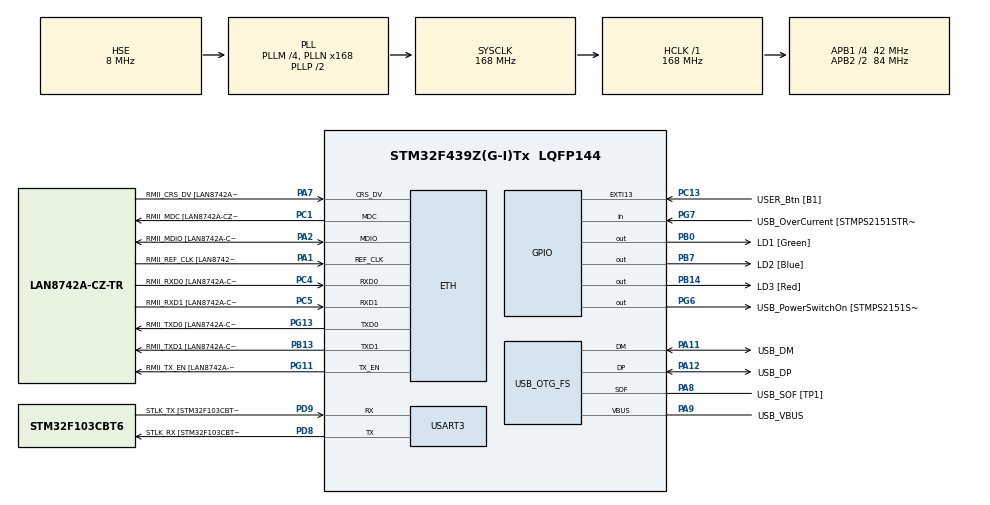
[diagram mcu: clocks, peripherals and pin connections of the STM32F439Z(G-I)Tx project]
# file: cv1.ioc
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ETH.MediaInterface=HAL_ETH_RMII_MODE
ETH.PHY_Name=LAN8742A_PHY_ADDRESS
ETH.PHY_Value=0
ETH.PhyAddress=0
Mcu.Family=STM32F4
Mcu.Name=STM32F439Z(G-I)Tx
Mcu.Package=LQFP144
NVIC.PriorityGroup=NVIC_PRIORITYGROUP_4
PA1.GPIO_Label=RMII_REF_CLK [LAN8742A-CZ-TR_REFCLK0]
PA1.Mode=RMII
PA1.Signal=ETH_REF_CLK
PA10.GPIO_Label=USB_ID
PA10.Signal=USB_OTG_FS_ID
PA11.GPIO_Label=USB_DM
PA11.Mode=Device_Only
PA11.Signal=USB_OTG_FS_DM
PA12.GPIO_Label=USB_DP
PA12.Mode=Device_Only
PA12.Signal=USB_OTG_FS_DP
PA13.GPIO_Label=TMS
PA13.Mode=Serial_Wire
PA13.Signal=SYS_JTMS-SWDIO
PA14.GPIO_Label=TCK
PA14.Mode=Serial_Wire
PA14.Signal=SYS_JTCK-SWCLK
PA2.GPIO_Label=RMII_MDIO [LAN8742A-CZ-TR_MDIO]
PA2.Mode=RMII
PA2.Signal=ETH_MDIO
PA7.GPIO_Label=RMII_CRS_DV [LAN8742A-CZ-TR_CRS_DV]
PA7.Mode=RMII
PA7.Signal=ETH_CRS_DV
PA8.GPIO_Label=USB_SOF [TP1]
PA8.Mode=Activate_SOF_FS
PA8.Signal=USB_OTG_FS_SOF
PA9.GPIO_Label=USB_VBUS
PA9.Mode=Activate_VBUS
PA9.Signal=USB_OTG_FS_VBUS
PB0.GPIO_Label=LD1 [Green]
PB0.Signal=GPIO_Output
PB13.GPIO_Label=RMII_TXD1 [LAN8742A-CZ-TR_TXD1]
PB13.Mode=RMII
PB13.Signal=ETH_TXD1
PB14.GPIO_Label=LD3 [Red]
PB14.Signal=GPIO_Output
PB7.GPIO_Label=LD2 [Blue]
PB7.Signal=GPIO_Output
PC1.GPIO_Label=RMII_MDC [LAN8742A-CZ-TR_MDC]
PC1.Mode=RMII
PC1.Signal=ETH_MDC
PC13.GPIO_Label=USER_Btn [B1]
PC13.Signal=GPXTI13
PC14/OSC32_IN.Mode=LSE-External-Oscillator
PC14/OSC32_IN.Signal=RCC_OSC32_IN
PC15/OSC32_OUT.Mode=LSE-External-Oscillator
PC15/OSC32_OUT.Signal=RCC_OSC32_OUT
PC4.GPIO_Label=RMII_RXD0 [LAN8742A-CZ-TR_RXD0]
PC4.Mode=RMII
PC4.Signal=ETH_RXD0
PC5.GPIO_Label=RMII_RXD1 [LAN8742A-CZ-TR_RXD1]
PC5.Mode=RMII
PC5.Signal=ETH_RXD1
PD8.GPIO_Label=STLK_RX [STM32F103CBT6_PA3]
PD8.Mode=Asynchronous
PD8.Signal=USART3_TX
PD9.GPIO_Label=STLK_TX [STM32F103CBT6_PA2]
PD9.Mode=Asynchronous
PD9.Signal=USART3_RX
PG11.GPIO_Label=RMII_TX_EN [LAN8742A-CZ-TR_TXEN]
PG11.Mode=RMII
PG11.Signal=ETH_TX_EN
PG13.GPIO_Label=RMII_TXD0 [LAN8742A-CZ-TR_TXD0]
PG13.Mode=RMII
PG13.Signal=ETH_TXD0
PG6.GPIO_Label=USB_PowerSwitchOn [STMPS2151STR_EN]
PG6.Signal=GPIO_Output
PG7.GPIO_Label=USB_OverCurrent [STMPS2151STR_FAULT]
PG7.Signal=GPIO_Input
PH0/OSC_IN.GPIO_Label=MCO [STM32F103CBT6_PA8]
PH0/OSC_IN.Mode=HSE-External-Clock-Source
PH0/OSC_IN.Signal=RCC_OSC_IN
PH1/OSC_OUT.Mode=HSE-External-Clock-Source
PH1/OSC_OUT.Signal=RCC_OSC_OUT
ProjectManager.HeapSize=0x200
ProjectManager.StackSize=0x400
ProjectManager.TargetToolchain=STM32CubeIDE
RCC.48MHZClocksFreq_Value=48000000
RCC.AHBFreq_Value=168000000
RCC.APB1CLKDivider=RCC_HCLK_DIV4
RCC.APB1Freq_Value=42000000
RCC.APB1TimFreq_Value=84000000
RCC.APB2CLKDivider=RCC_HCLK_DIV2
RCC.APB2Freq_Value=84000000
RCC.APB2TimCLKDivider=2
RCC.APB2TimFreq_Value=168000000
RCC.CortexFreq_Value=168000000
RCC.HCLKFreq_Value=168000000
RCC.HSE_VALUE=8000000
RCC.HSI_VALUE=16000000
RCC.PLLM=4
RCC.PLLMUL=RCC_PLL_MUL9
RCC.PLLN=168
RCC.PLLQ=7
RCC.PRESCALERUSB=RCC_USBCLKSOURCE_PLL_DIV1_5
RCC.SYSCLKFreq_VALUE=168000000
RCC.SYSCLKSource=RCC_SYSCLKSOURCE_PLLCLK
RCC.SYSCLKSourceVirtual=RCC_SYSCLKSOURCE_PLLCLK
RCC.USBFreq_Value=48000000
RCC.VCOOutputFreq_Value=336000000
USART3.VirtualMode=VM_ASYNC
USB_OTG_FS.VirtualMode=Device_Only
board=NUCLEO-F439ZI

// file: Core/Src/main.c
/* USER CODE BEGIN Header */
/**
  ******************************************************************************
  * @file           : main.c
  * @brief          : Main program body
  ******************************************************************************
  * @attention
  *
  * Copyright (c) 2026 STMicroelectronics.
  * All rights reserved.
  *
  * This software is licensed under terms that can be found in the LICENSE file
  * in the root directory of this software component.
  * If no LICENSE file comes with this software, it is provided AS-IS.
  *
  ******************************************************************************
  */
/* USER CODE END Header */
#include "main.h"
#include "eth.h"
#include "usart.h"
#include "usb_otg.h"
#include "gpio.h"

/* USER CODE BEGIN Includes */
#include "putchar.h"
#include <stdio.h>
#include <stdlib.h>
#include <string.h>
#include <ctype.h>
/* USER CODE END Includes */

/* USER CODE BEGIN PD */
#define ODECET
#define KONSTANTA 2

#define UPPER_CASE 1
#define NORMAL_CASE 2
//#define DIRECTION_UP
#define DIRECTION_DOWN
/* USER CODE END PD */

/* USER CODE BEGIN PV */

int a = 10;
char field[52];

/* USER CODE END PV */

void SystemClock_Config(void);
/* USER CODE BEGIN PFP */

int generateField(int type) {
    int i = 0;

    if (type != UPPER_CASE && type != NORMAL_CASE) {
        printf("PROGRAM ERROR\n");
        return 0;
    }

    if (type == NORMAL_CASE) {
        for (char c = 'a'; c <= 'z'; c++)
            field[i++] = c;
        for (char c = 'A'; c <= 'Z'; c++)
            field[i++] = c;
    } else {
        for (char c = 'A'; c <= 'Z'; c++)
            field[i++] = c;
        for (char c = 'a'; c <= 'z'; c++)
            field[i++] = c;
    }

    return 1;
}

int capsLetters(int type) {
    if (type != UPPER_CASE && type != NORMAL_CASE) {
        printf("PROGRAM ERROR\n");
        return 0;
    }

    for (int i = 0; i < 52; i++) {
        if (type == UPPER_CASE)
            field[i] = toupper(field[i]);
        else
            field[i] = tolower(field[i]);
    }

    return 1;
}

void printField(void) {
#ifdef DIRECTION_UP
	for (int i = 0; i < 52; i++)
	    printf("%c ", field[i]);
#endif
#ifdef DIRECTION_DOWN
	for (int i = 51; i >= 0; i--)
		printf("%c ", field[i]);
#endif
}
/* USER CODE END PFP */

int main(void)
{

  /* USER CODE BEGIN 1 */
  // ukol 3
  #ifdef ODECET
   a=a-KONSTANTA;
  #endif
   printf("Ukol 3 vysledek: %d ", a);

   // ukol 4
   unsigned char b = 255;
   unsigned char c = 255;
   int d;
   d = (int)b + (int)c;
   printf("Ukol 4 vysledek: %d ", d);

   //ukol 5
   int f = 24;
   f = f >> 3;
   f = f - 1;
   f = f&2;
   printf("Ukol 5 vysledek: %d ", f);

   // ukol 6
   int e = 200;
   char text[15];
   sprintf(text,"Hodnota=%d ", e);
   printf("%s", text);

   // ukol 7
   generateField(UPPER_CASE);

   capsLetters(NORMAL_CASE);

   printField();
   // ukol 8
   int promenna = 23;
   int *pointer = &promenna;

   printf("Hodnota: %d ", promenna);
   printf("Ukazatel: %d ", *pointer);

   printf("Pamet: %p ", (void *)&promenna);
   printf("Pamet ukazalete: %p ", (void *)pointer);

  /* USER CODE END 1 */

  /* MCU Configuration--------------------------------------------------------*/

  /* Reset of all peripherals, Initializes the Flash interface and the Systick. */
  HAL_Init();

  /* Configure the system clock */
  SystemClock_Config();

  /* Initialize all configured peripherals */
  MX_GPIO_Init();
  MX_ETH_Init();
  MX_USART3_UART_Init();
  MX_USB_OTG_FS_PCD_Init();
  /* USER CODE BEGIN 2 */

  // ukol 2
  setvbuf(stdout, NULL, _IONBF, 0);
  printf("Hello world!\n");

  /* USER CODE END 2 */

  /* Infinite loop */
  /* USER CODE BEGIN WHILE */
  while (1)
  {
	  //ukol 1
	  HAL_GPIO_TogglePin(LD1_GPIO_Port, LD1_Pin); // Přepne stav zelené LED
	  HAL_Delay(500); // Počká 500 milisekund
    /* USER CODE END WHILE */

  }
}

void SystemClock_Config(void)
{
  RCC_OscInitTypeDef RCC_OscInitStruct = {0};
  RCC_ClkInitTypeDef RCC_ClkInitStruct = {0};

  /** Configure the main internal regulator output voltage
  */
  __HAL_RCC_PWR_CLK_ENABLE();
  __HAL_PWR_VOLTAGESCALING_CONFIG(PWR_REGULATOR_VOLTAGE_SCALE1);

  /** Initializes the RCC Oscillators according to the specified parameters
  * in the RCC_OscInitTypeDef structure.
  */
  RCC_OscInitStruct.OscillatorType = RCC_OSCILLATORTYPE_HSE;
  RCC_OscInitStruct.HSEState = RCC_HSE_BYPASS;
  RCC_OscInitStruct.PLL.PLLState = RCC_PLL_ON;
  RCC_OscInitStruct.PLL.PLLSource = RCC_PLLSOURCE_HSE;
  RCC_OscInitStruct.PLL.PLLM = 4;
  RCC_OscInitStruct.PLL.PLLN = 168;
  RCC_OscInitStruct.PLL.PLLP = RCC_PLLP_DIV2;
  RCC_OscInitStruct.PLL.PLLQ = 7;
  if (HAL_RCC_OscConfig(&RCC_OscInitStruct) != HAL_OK)
  {
    Error_Handler();
  }

  /** Initializes the CPU, AHB and APB buses clocks
  */
  RCC_ClkInitStruct.ClockType = RCC_CLOCKTYPE_HCLK|RCC_CLOCKTYPE_SYSCLK
                              |RCC_CLOCKTYPE_PCLK1|RCC_CLOCKTYPE_PCLK2;
  RCC_ClkInitStruct.SYSCLKSource = RCC_SYSCLKSOURCE_PLLCLK;
  RCC_ClkInitStruct.AHBCLKDivider = RCC_SYSCLK_DIV1;
  RCC_ClkInitStruct.APB1CLKDivider = RCC_HCLK_DIV4;
  RCC_ClkInitStruct.APB2CLKDivider = RCC_HCLK_DIV2;

  if (HAL_RCC_ClockConfig(&RCC_ClkInitStruct, FLASH_LATENCY_5) != HAL_OK)
  {
    Error_Handler();
  }
}

void Error_Handler(void)
{
  __disable_irq();
  while (1)
  {
  }
}
